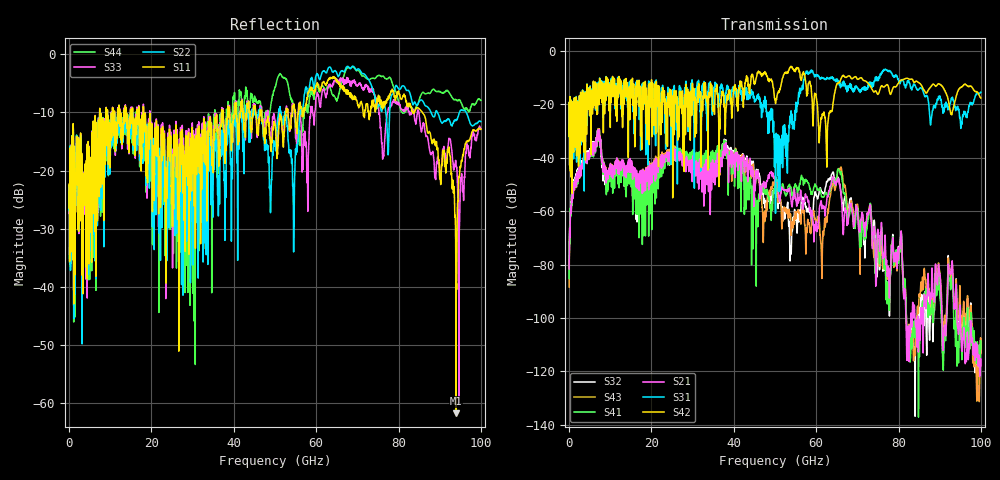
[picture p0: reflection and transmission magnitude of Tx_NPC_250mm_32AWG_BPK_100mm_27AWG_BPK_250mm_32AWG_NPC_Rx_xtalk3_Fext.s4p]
! Info: Touchstone file created by Circ.  Input file=Tx_NPC_250mm_32AWG_BPK_100mm_27AWG_BPK_250mm_32AWG_NPC_Rx.circ
# Hz S RI R 50
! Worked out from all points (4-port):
!   10000 points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, 10 MHz to 100 GHz, reference 50 ohm
!   strongest paths, dB at 10 MHz, 25.01 GHz, 50.01 GHz, 75.01 GHz, 100 GHz:
!     S42: -32.0, -21.9, -18.4, -16.3, -17.6
!     S31: -32.0, -24.3, -35.5, -10.4, -15.5
!     S21: -81.7, -37.6, -49.0, -67.2, -117.9
!     S41: -85.3, -37.7, -50.6, -70.3, -111.6
!     S43: -88.4, -36.8, -51.6, -74.1, -113.4
!     S32: -80.7, -38.5, -52.9, -75.7, -112.8
!   lowest |S11| = -61.8 dB at 93.97 GHz (marker M1), VSWR 1.00, Z = 49.9 + j0.00225 ohm
!   |S11| at or under -10 dB: start of sweep to 7.424 GHz; 18.1 GHz to 37.05 GHz (18.95 GHz wide, 68.7 % of centre); 85.77 GHz to end of sweep (the widest 3 of 46)
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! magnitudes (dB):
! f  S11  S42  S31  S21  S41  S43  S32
! 10 MHz  -26.4  -32.0  -32.0  -81.7  -85.3  -88.4  -80.7
! 7.21 GHz  -15.9  -17.3  -18.1  -30.7  -31.0  -30.6  -30.8
! 51.19 GHz  -10.8  -14.2  -35.6  -56.0  -51.9  -55.9  -57.0
! 61.41 GHz  -5.1  -24.5  -10.2  -59.1  -54.6  -83.5  -52.9
! 64.25 GHz  -4.0  -17.9  -10.5  -47.3  -48.0  -49.3  -46.0
! 93.97 GHz  -61.8  -17.1  -21.6  -87.5  -98.3  -86.4  -85.7
! 100 GHz  -12.9  -17.6  -15.5  -117.9  -111.6  -113.4  -112.8
